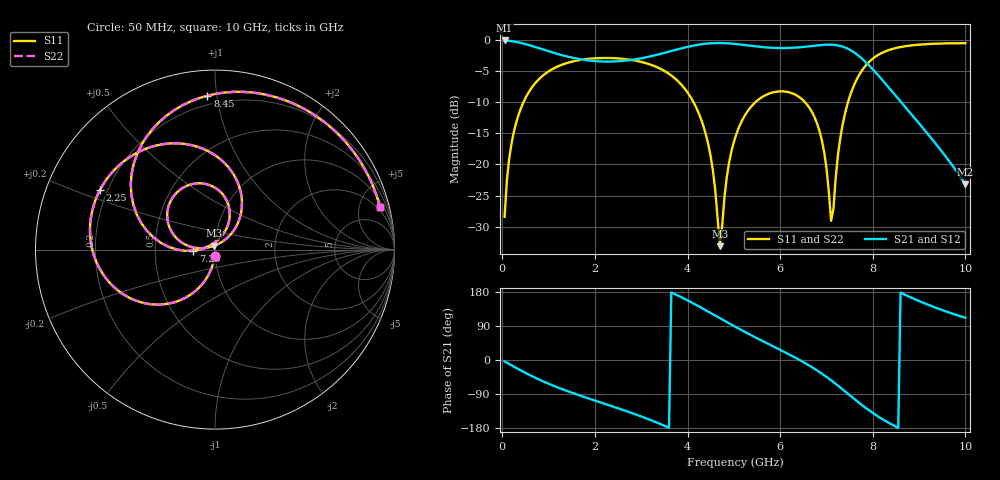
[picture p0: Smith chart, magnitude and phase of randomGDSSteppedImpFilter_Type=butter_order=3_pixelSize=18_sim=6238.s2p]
! freq	dB(S11)	phase(S11)	dB(S12)	phase(S12)
!  dB(S21)	phase(S21)	dB(S22)	phase(S22)
!S-par simulation data
#  GHz  S  DB  R 50
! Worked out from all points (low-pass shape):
!   200 points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, 50 MHz to 10 GHz, reference 50 ohm
!   highest |S21| = -0.01 dB at 50 MHz (marker M1); lowest = -23.2 dB at 10 GHz (marker M2)
!   |S21| within 3 dB of the highest: start of sweep to 1.665 GHz; 2.907 GHz to 7.778 GHz (4.871 GHz wide, 91.2 % of centre)
!   lowest |S11| = -33.2 dB at 4.7 GHz (marker M3), VSWR 1.04, Z = 49.4 + j2.1 ohm
!   |S11| at or under -10 dB: start of sweep to 455.2 MHz; 4.132 GHz to 5.46 GHz (1.329 GHz wide, 27.7 % of centre); 6.541 GHz to 7.464 GHz (923.1 MHz wide, 13.2 % of centre)
!   |S22| runs from -33.2 to -0.5 dB; largest |S21 - S12| = 0
!   S11 on the Smith chart (normalised r, x): 50 MHz: 0.99, -0.08; 2.25 GHz: 0.17, +0.24; 7.25 GHz: 0.79, -0.01; 8.45 GHz: 0.14, +0.94; 10 GHz: 1.58, +7.57
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0.05  -28.43 -93.7  -0.01 -3.6  -0.01 -3.6  -28.43 -93.7
0.2  -16.58 -104.7  -0.12 -14.1  -0.12 -14.1  -16.58 -104.6
0.5  -9.30 -124.5  -0.59 -34.0  -0.59 -34.0  -9.30 -124.5
1.75  -3.07 172.7  -3.12 -96.9  -3.12 -96.9  -3.07 172.7
2.25  -2.83 152.4  -3.42 -117.2  -3.42 -117.2  -2.83 152.4
3.4  -4.52 102.2  -2.21 -168.3  -2.21 -168.3  -4.52 102.2
4.3  -12.86 52.2  -0.62 137.8  -0.62 137.8  -12.86 52.2
4.55  -21.08 43.8  -0.45 120.6  -0.45 120.6  -21.09 43.7
4.7  -33.16 105.0  -0.43 110.2  -0.43 110.2  -33.21 105.0
4.85  -21.90 174.8  -0.47 99.9  -0.47 99.9  -21.91 174.9
5.05  -15.19 169.7  -0.59 86.4  -0.59 86.4  -15.19 169.8
5.9  -8.29 121.7  -1.22 33.0  -1.22 33.0  -8.29 121.7
6.7  -11.73 73.1  -0.89 -19.9  -0.89 -19.9  -11.73 73.3
6.95  -17.98 61.2  -0.71 -40.0  -0.71 -40.0  -17.97 61.5
7.1  -29.08 102.4  -0.69 -53.4  -0.69 -53.4  -28.92 102.8
7.25  -18.39 -177.1  -0.82 -67.7  -0.82 -67.7  -18.38 -177.4
7.45  -10.35 172.9  -1.30 -87.8  -1.30 -87.8  -10.34 172.8
7.8  -4.51 142.0  -3.16 -122.2  -3.16 -122.2  -4.50 142.0
8.35  -1.55 99.4  -7.64 -166.2  -7.64 -166.2  -1.55 99.4
8.45  -1.32 92.8  -8.51 -172.8  -8.51 -172.8  -1.32 92.9
9.1  -0.63 56.3  -14.29 150.5  -14.29 150.5  -0.63 56.3
10  -0.45 14.4  -23.22 111.5  -23.22 111.5  -0.45 14.5
